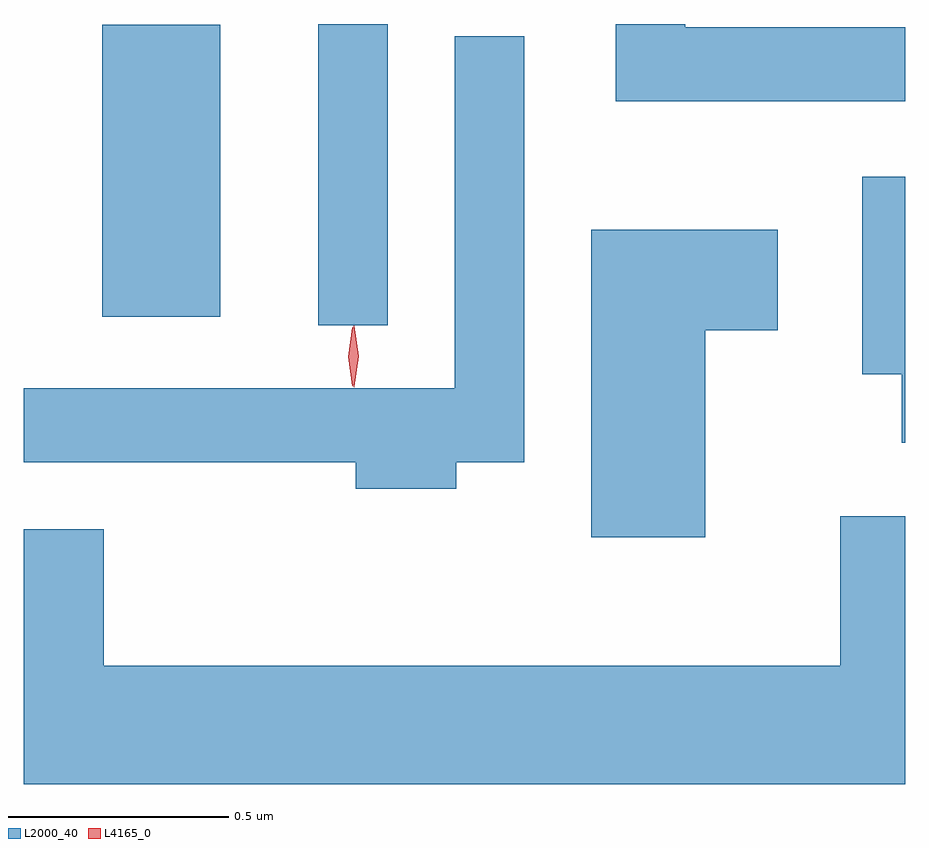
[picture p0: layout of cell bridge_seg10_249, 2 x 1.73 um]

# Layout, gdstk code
import gdstk
lib = gdstk.Library(unit=1e-6, precision=1e-09)
def R(c, l, rs):  # rectangles x0, y0, x1, y1
    for r in rs: c.add(gdstk.rectangle(r[:2], r[2:], *l))
def P(c, l, *ps):  # polygons
    for p in ps: c.add(gdstk.Polygon(p, *l))
L2000_40 = (2000, 40)
L4165_0 = (4165, 0)

bridge_seg10_249 = lib.new_cell('bridge_seg10_249')
R(bridge_seg10_249, L2000_40, [(1761.616,2086.097,1761.774,2086.781), (1761.126,2086.116,1761.394,2086.779)])
P(bridge_seg10_249, L2000_40, [(1762.948,2086.774),(1762.449,2086.774),(1762.449,2086.781),(1762.291,2086.781),(1762.291,2086.606),(1762.948,2086.606)],
  [(1761.929,2085.786),(1762.084,2085.786),(1762.084,2086.753),(1761.926,2086.753),(1761.926,2085.954),(1760.948,2085.954),(1760.948,2085.786),(1761.701,2085.786),(1761.701,2085.726),(1761.929,2085.726)],
  [(1762.948,2086.434),(1762.851,2086.434),(1762.851,2085.986),(1762.941,2085.986),(1762.941,2085.831),(1762.948,2085.831)],
  [(1762.494,2086.086),(1762.659,2086.086),(1762.659,2086.314),(1762.236,2086.314),(1762.236,2085.616),(1762.494,2085.616)],
  [(1762.948,2085.664),(1762.801,2085.664),(1762.801,2085.324),(1761.129,2085.324),(1761.129,2085.634),(1760.948,2085.634),(1760.948,2085.056),(1762.948,2085.056)])
P(bridge_seg10_249, L4165_0, [(1761.698,2085.957),(1761.697,2085.958),(1761.688,2086.027),(1761.697,2086.096),(1761.697,2086.096),(1761.698,2086.096),(1761.708,2086.027),(1761.698,2085.958)],
  [(1761.694,2085.959),(1761.693,2085.96),(1761.684,2086.026),(1761.693,2086.092),(1761.694,2086.093),(1761.694,2086.092),(1761.704,2086.026),(1761.694,2085.96)])

lib.write_gds('bridge_seg10_249.gds')
